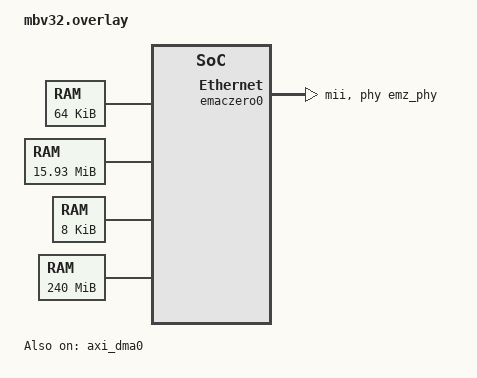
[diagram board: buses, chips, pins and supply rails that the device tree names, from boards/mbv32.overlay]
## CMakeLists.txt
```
# SPDX-License-Identifier: Apache-2.0
# Copyright (c) 2026 Leonardo Capossio - bard0 design

cmake_minimum_required(VERSION 3.20.0)

list(APPEND ZEPHYR_EXTRA_MODULES ${CMAKE_CURRENT_LIST_DIR}/..)

find_package(Zephyr REQUIRED HINTS $ENV{ZEPHYR_BASE})
project(emacz_zephyr_app)

target_sources(app PRIVATE src/main.c src/provision.c)
```

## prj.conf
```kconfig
# SPDX-License-Identifier: Apache-2.0
# Copyright (c) 2026 Leonardo Capossio - bard0 design

CONFIG_MAIN_STACK_SIZE=2048
CONFIG_HEAP_MEM_POOL_SIZE=4096
CONFIG_SPEED_OPTIMIZATIONS=y
CONFIG_CRC=y
CONFIG_UART_CONSOLE=n
CONFIG_NETWORKING=y
CONFIG_NET_L2_ETHERNET=y
CONFIG_DMA=y
CONFIG_EMACZ_APP_RAW_UART=y
# emacZero driver from deps/zephyr (patches/zephyr/0004). RX buffers live in
# the overlay's emz_bufs region: 64 stay posted to S2MM and up to 56 more are
# lent to the stack; past that, frames are copied into the 8 copy buffers.
CONFIG_ETH_EMACZERO=y
CONFIG_ETH_EMACZERO_RX_BUFFER_COUNT=128
CONFIG_ETH_EMACZERO_RX_DMA_POST_COUNT=64
CONFIG_ETH_EMACZERO_RX_ZERO_COPY_MAX=56
CONFIG_ETH_EMACZERO_RX_COPY_BUFFER_COUNT=8
CONFIG_ETH_EMACZERO_TX_BUFFER_COUNT=16
# Under a flood the cooperative RX path (driver RX thread, UDP sink) would
# keep the CPU, starving the control thread and its TX benchmark (priority
# 4). After 20 ms of RX in a row the RX thread drops to priority 4 and back,
# so a ready sender gets its 20 ms time slice: roughly equal turns on any
# CPU. With no sender ready, RX loses nothing.
CONFIG_ETH_EMACZERO_RX_BUDGET_US=20000
CONFIG_ETH_EMACZERO_RX_YIELD_PRIORITY=4
CONFIG_TIMESLICING=y
CONFIG_TIMESLICE_SIZE=20
CONFIG_TIMESLICE_PRIORITY=0
CONFIG_NET_IPV4=y
CONFIG_NET_IPV4_MTU=1500
CONFIG_NET_IPV6=n
CONFIG_NET_TCP=n
CONFIG_NET_UDP_CHECKSUM=n
CONFIG_NET_SOCKETS=y
CONFIG_NET_ZPERF=n
# The perf-stats block mirrors the stack's counters, read through net_mgmt
CONFIG_NET_STATISTICS=y
CONFIG_NET_STATISTICS_ETHERNET=y
CONFIG_NET_STATISTICS_USER_API=y
CONFIG_NET_MGMT=y
CONFIG_NET_PKT_FILTER=n
CONFIG_NET_TC_RX_COUNT=0
CONFIG_NET_TC_TX_COUNT=0
# One per frame the driver can have in the stack: lent plus copied, and spare
CONFIG_NET_PKT_RX_COUNT=96
CONFIG_NET_PKT_TX_COUNT=24
CONFIG_NET_BUF_RX_COUNT=32
CONFIG_NET_BUF_TX_COUNT=64
CONFIG_NET_BUF_DATA_SIZE=1600
CONFIG_DMA_XILINX_AXI_DMA_INTERRUPT_THRESHOLD=32
CONFIG_DMA_XILINX_AXI_DMA_INTERRUPT_TIMEOUT=32
# Fixed descriptor rings. Each must be larger than what the emacZero driver
# keeps queued on it (RX_DMA_POST_COUNT, TX_BUFFER_COUNT), so one descriptor
# always stays free behind the outstanding ones.
CONFIG_DMA_XILINX_AXI_DMA_SG_DESCRIPTOR_NUM_RX=128
CONFIG_DMA_XILINX_AXI_DMA_SG_DESCRIPTOR_NUM_TX=32
CONFIG_NET_CONFIG_SETTINGS=n
CONFIG_LOG=n
CONFIG_NET_LOG=n
CONFIG_TEST_RANDOM_GENERATOR=y

# Per-board timer frequency lives in app/boards/<board>.conf so this file
# stays CPU-neutral across the mbv32 and arty_a7_vex targets.
```

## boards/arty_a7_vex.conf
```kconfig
# SPDX-License-Identifier: Apache-2.0
# Copyright (c) 2026 Leonardo Capossio - bard0 design

# The SoC domain (CPU, AXI fabrics, peripherals, riscv_mtimer) runs at
# 100 MHz from clock_root/clk100. mtimer/aclk is tied to that same net, so
# this is the machine-timer input frequency. MIG's ui_clk stays at
# 81.25 MHz and is crossed inside ddr_axi_ic (smartconnect, NUM_CLKS 2) --
# the CDC is real, it is just not on the timer path.
CONFIG_SYS_CLOCK_HW_CYCLES_PER_SEC=100000000
```

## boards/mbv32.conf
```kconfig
# SPDX-License-Identifier: Apache-2.0
# Copyright (c) 2026 Leonardo Capossio - bard0 design

# The AXI Timer runs on the shell's 100 MHz SoC clock (SOC_CLK_HZ in
# hardware/scripts/build_arty_a7_mbv.py). Firmware-visible cycles_per_sec must
# match it, or every board-derived rate is biased.
CONFIG_SYS_CLOCK_HW_CYCLES_PER_SEC=100000000

# The upstream board leaves serial off; the status prints use the UARTLite.
# With a UART driver on, the mbv32 SoC selects UART_CONSOLE, overriding
# prj.conf: only the boot banner and fault dumps reach it, as the app
# does not printk.
CONFIG_SERIAL=y
CONFIG_UART_CONSOLE=y
```

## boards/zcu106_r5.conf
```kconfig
# SPDX-License-Identifier: Apache-2.0
# Copyright (c) 2026 Leonardo Capossio - bard0 design

# The frame buffers are cacheable (zcu106_r5.overlay) and the DMA does not
# snoop the D-cache: the AXI DMA driver cleans TX buffers before MM2S reads
# them and invalidates RX buffers before and after S2MM writes them.
CONFIG_DMA_XILINX_AXI_DMA_MANUAL_CACHE_COHERENCY=y
```

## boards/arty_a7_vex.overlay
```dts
/*
 * SPDX-License-Identifier: Apache-2.0
 * Copyright (c) 2026 Leonardo Capossio - bard0 design
 *
 * App-side overlay for arty_a7_vex. Mirrors mbv32.overlay's emacZero/DMA
 * layout with two differences:
 *   - IRQ index order matches hardware/scripts/build_arty_a7_vex.py's
 *     xlconcat (uart=0, gpio=1, mm2s=2, s2mm=3, emaczero=4), NOT the mbv
 *     shell's numbering.
 *   - There is only one AXI bus root in the DTS (soc/simple-bus), so we
 *     add nodes directly to the base DTS's root (no &axi label needed).
 *
 * Address map (verified against build_arty_a7_vex.py):
 *   emacZero        @ 0x44A00000
 *   AXI DMA         @ 0x41E00000
 *   axis_rx_stats   @ 0x41F00000
 *   AXI INTC        @ 0x41200000
 *   UARTLite        @ 0x40600000
 *   DDR             @ 0x90000000 (240 MiB Zephyr + 16 MiB uncached DMA window
 *                     at 0x9F000000: 64 KiB SG descriptors, frame buffers,
 *                     and the 8 KiB host page at 0x9FFFE000)
 */

/ {
	/* Uncached (outside the CPU D-cache aperture) home for the AXI DMA
	 * scatter-gather descriptor rings.
	 */
	dma_desc: memory@9f000000 {
		compatible = "zephyr,memory-region";
		reg = <0x9f000000 0x10000>;
		zephyr,memory-region = "DMA_DESC";
	};

	/* emacZero RX and TX packet buffers, in the same uncached window. It
	 * stops where emz_hostio starts.
	 */
	emz_bufs: memory@9f010000 {
		compatible = "zephyr,memory-region";
		reg = <0x9f010000 0xfee000>;
		zephyr,memory-region = "EMZ_BUFFERS";
	};

	/* Host-visible page at fixed addresses the host tools reach over
	 * JTAG-AXI: the provisioning mailbox, then the app's perf stats.
	 */
	emz_hostio: memory@9fffe000 {
		compatible = "zephyr,memory-region";
		reg = <0x9fffe000 0x2000>;
		zephyr,memory-region = "EMZ_HOSTIO";
	};

	/* The MII PHY is not managed by software; the link is fixed at
	 * 100 Mbit/s full duplex. The parent node only supplies the address
	 * cells for the PHY's reg.
	 */
	emz_phy_bus {
		#address-cells = <1>;
		#size-cells = <0>;

		emz_phy: ethernet-phy@0 {
			compatible = "ethernet-phy";
			reg = <0>;
			fixed-link = "100BASE-T Full-Duplex";
		};
	};

	aliases {
		ethernet0 = &emaczero0;
	};

	soc {
		emaczero0: ethernet@44a00000 {
			compatible = "bard0,emaczero";
			status = "okay";
			reg = <0x44a00000 0x100>;
			interrupt-parent = <&intc0>;
			interrupts = <4 2>;
			axistream-connected = <&axi_dma0>;
			local-mac-address = [02 00 00 00 00 01];
			phy-connection-type = "mii";
			phy-handle = <&emz_phy>;
			memory-region = <&emz_bufs>;
		};

		axi_dma0: dma@41e00000 {
			compatible = "xlnx,axi-dma-1.00.a";
			status = "okay";
			reg = <0x41e00000 0x10000>;
			interrupt-parent = <&intc0>;
			interrupts = <2 2 3 2>;
			interrupt-names = "mm2s_introut", "s2mm_introut";
			#dma-cells = <0>;
			dma-channels = <2>;
			xlnx,addrwidth = <32>;
			memory-region = <&dma_desc>;
		};
	};
};
```

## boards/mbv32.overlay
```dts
/*
 * SPDX-License-Identifier: Apache-2.0
 * Copyright (c) 2026 Leonardo Capossio - bard0 design
 */

/ {
	/delete-node/ memory@80000000;

	/* Uncached (outside the CPU D-cache aperture) home for the AXI DMA
	 * scatter-gather descriptor rings.
	 */
	dma_desc: memory@9f000000 {
		compatible = "zephyr,memory-region";
		reg = <0x9f000000 0x10000>;
		zephyr,memory-region = "DMA_DESC";
	};

	/* emacZero RX and TX packet buffers, in the same uncached window. It
	 * stops where emz_hostio starts.
	 */
	emz_bufs: memory@9f010000 {
		compatible = "zephyr,memory-region";
		reg = <0x9f010000 0xfee000>;
		zephyr,memory-region = "EMZ_BUFFERS";
	};

	/* Host-visible page at fixed addresses the host tools reach over
	 * JTAG-AXI: the provisioning mailbox, then the app's perf stats.
	 */
	emz_hostio: memory@9fffe000 {
		compatible = "zephyr,memory-region";
		reg = <0x9fffe000 0x2000>;
		zephyr,memory-region = "EMZ_HOSTIO";
	};

	/* The MII PHY is not managed by software; the link is fixed at
	 * 100 Mbit/s full duplex. The parent node only supplies the address
	 * cells for the PHY's reg.
	 */
	emz_phy_bus {
		#address-cells = <1>;
		#size-cells = <0>;

		emz_phy: ethernet-phy@0 {
			compatible = "ethernet-phy";
			reg = <0>;
			fixed-link = "100BASE-T Full-Duplex";
		};
	};

	ram0: memory@90000000 {
		device_type = "memory";
		reg = <0x90000000 0x0f000000>;
	};

	aliases {
		ethernet0 = &emaczero0;
	};

	/* uart0, the shell's AXI UARTLite at 0x40600000, stays the console */
	chosen {
		/delete-property/ bootargs;
		/delete-property/ stdout-path;
	};
};

&axi_gpio {
	status = "disabled";
};

&axi_intc {
	xlnx,kind-of-intr = <0x0a>;
};

/*
 * The CPU, the AXI fabric and the AXI Timer that backs
 * sys_clock_cycle_get_32 run on the shell's 100 MHz SoC clock (SOC_CLK_HZ in
 * hardware/scripts/build_arty_a7_mbv.py), as in the VexRiscv shell.
 */
&clk100 {
	clock-frequency = <100000000>;
};

&cpu_0 {
	clock-frequency = <100000000>;
};

&cpus {
	timebase-frequency = <100000000>;
};

/*
 * Arty A7-100T MicroBlaze V example integration point.
 *
 * Keep this address map synchronized with the Vivado block design that
 * instantiates MicroBlaze V, AXI INTC, AXI Timer, UARTLite, and emacZero.
 */
&axi {
	emaczero0: ethernet@44a00000 {
		compatible = "bard0,emaczero";
		status = "okay";
		reg = <0x44a00000 0x100>;
		interrupt-parent = <&axi_intc>;
		interrupts = <5 2>;
		axistream-connected = <&axi_dma0>;
		local-mac-address = [02 00 00 00 00 01];
		phy-connection-type = "mii";
		phy-handle = <&emz_phy>;
		memory-region = <&emz_bufs>;
	};

	axi_dma0: dma@41e00000 {
		compatible = "xlnx,axi-dma-1.00.a";
		status = "okay";
		reg = <0x41e00000 0x10000>;
		interrupt-parent = <&axi_intc>;
		interrupts = <6 2 7 2>;
		interrupt-names = "mm2s_introut", "s2mm_introut";
		#dma-cells = <0>;
		dma-channels = <2>;
		xlnx,addrwidth = <32>;
		memory-region = <&dma_desc>;
	};
};
```

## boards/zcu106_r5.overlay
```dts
/*
 * SPDX-License-Identifier: Apache-2.0
 * Copyright (c) 2026 Leonardo Capossio - bard0 design
 *
 * App-side overlay for zcu106_r5: the Vex shells' emacZero/DMA layout,
 * reached by Cortex-R5 #0 over M_AXI_HPM0_LPD, with the DMA memory in PS
 * DDR and the link fixed at 1 Gbit/s (1000BASE-X on SFP0).
 *
 * Address map (verified against hardware/scripts/build_zcu106.py):
 *   PCS/PMA status  @ 0x80010000 (AXI GPIO, read by the host tools)
 *   AXI DMA         @ 0x81E00000
 *   axis_rx_stats   @ 0x81F00000
 *   emacZero        @ 0x84A00000
 *   PL interrupts   pl_ps_irq0[3:0] = GIC SPI 89..92: pcs_gpio, mm2s,
 *                   s2mm, emaczero
 *   DDR (MPU regions, reached by the DMA through S_AXI_HP0_FPD): frame
 *   buffers at 0x07C00000, SG descriptors at 0x07E00000, the 8 KiB host
 *   page at 0x07FFE000. All of it is above the 64 MiB Zephyr RAM and clear
 *   of the TCM window at 0x0.
 *
 * Each MPU region must be a power of two in size, aligned to its size.
 * HP0_FPD does not snoop the R5's D-cache. The frame buffers are cacheable,
 * so the socket copy out of them reads whole lines, and the AXI DMA driver
 * cleans and invalidates them around each transfer (zcu106_r5.conf). The
 * descriptors and the host page, which the host reads over JTAG-AXI, stay
 * non-cacheable.
 */

#include <zephyr/dt-bindings/interrupt-controller/arm-gic.h>
#include <zephyr/dt-bindings/memory-attr/memory-attr-arm.h>

/ {
	emz_bufs: memory@7c00000 {
		compatible = "zephyr,memory-region";
		reg = <0x07c00000 DT_SIZE_M(2)>;
		zephyr,memory-region = "EMZ_BUFFERS";
		zephyr,memory-attr = <DT_MEM_ARM(ATTR_MPU_RAM)>;
	};

	dma_desc: memory@7e00000 {
		compatible = "zephyr,memory-region";
		reg = <0x07e00000 DT_SIZE_K(64)>;
		zephyr,memory-region = "DMA_DESC";
		zephyr,memory-attr = <DT_MEM_ARM(ATTR_MPU_RAM_NOCACHE)>;
	};

	/* Host-visible page at fixed addresses the host tools reach over
	 * JTAG-AXI: the provisioning mailbox, then the app's perf stats.
	 */
	emz_hostio: memory@7ffe000 {
		compatible = "zephyr,memory-region";
		reg = <0x07ffe000 DT_SIZE_K(8)>;
		zephyr,memory-region = "EMZ_HOSTIO";
		zephyr,memory-attr = <DT_MEM_ARM(ATTR_MPU_RAM_NOCACHE)>;
	};

	/* 1000BASE-X has no PHY to manage, and Zephyr has no PCS driver for
	 * the AMD core: the link is fixed at 1 Gbit/s full duplex. The PCS
	 * status (link, sync) is in the status GPIO. The parent node only
	 * supplies the address cells for the PHY's reg.
	 */
	emz_phy_bus {
		#address-cells = <1>;
		#size-cells = <0>;

		emz_phy: ethernet-phy@0 {
			compatible = "ethernet-phy";
			reg = <0>;
			fixed-link = "1000BASE-T Full-Duplex";
		};
	};

	aliases {
		ethernet0 = &emaczero0;
	};

	soc {
		emaczero0: ethernet@84a00000 {
			compatible = "bard0,emaczero";
			status = "okay";
			reg = <0x84a00000 0x100>;
			interrupts = <GIC_SPI 92 IRQ_TYPE_LEVEL IRQ_DEFAULT_PRIORITY>;
			axistream-connected = <&axi_dma0>;
			/* the Arty boards use :01; a ZCU106 may share their segment */
			local-mac-address = [02 00 00 00 00 03];
			phy-connection-type = "gmii";
			phy-handle = <&emz_phy>;
			memory-region = <&emz_bufs>;
		};

		axi_dma0: dma@81e00000 {
			compatible = "xlnx,axi-dma-1.00.a";
			status = "okay";
			reg = <0x81e00000 0x10000>;
			interrupts = <GIC_SPI 90 IRQ_TYPE_LEVEL IRQ_DEFAULT_PRIORITY>,
				     <GIC_SPI 91 IRQ_TYPE_LEVEL IRQ_DEFAULT_PRIORITY>;
			interrupt-names = "mm2s_introut", "s2mm_introut";
			#dma-cells = <0>;
			dma-channels = <2>;
			xlnx,addrwidth = <32>;
			memory-region = <&dma_desc>;
		};
	};
};
```

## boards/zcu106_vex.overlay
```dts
/*
 * SPDX-License-Identifier: Apache-2.0
 * Copyright (c) 2026 Leonardo Capossio - bard0 design
 *
 * App-side overlay for zcu106_vex: the arty_a7_vex overlay's emacZero/DMA
 * layout and memory map, with the link fixed at 1 Gbit/s (1000BASE-X on
 * SFP0).
 *
 * Address map (verified against hardware/scripts/build_zcu106.py):
 *   emacZero        @ 0x44A00000
 *   AXI DMA         @ 0x41E00000
 *   axis_rx_stats   @ 0x41F00000
 *   AXI INTC        @ 0x41200000
 *   UARTLite        @ 0x40600000
 *   PCS/PMA status  @ 0x40010000 (AXI GPIO, read by the host tools)
 *   PS DDR4         @ 0x90000000 (240 MiB Zephyr + 16 MiB uncached DMA window
 *                     at 0x9F000000: 64 KiB SG descriptors, frame buffers,
 *                     and the 8 KiB host page at 0x9FFFE000)
 */

/ {
	/* Uncached (outside the CPU D-cache aperture) home for the AXI DMA
	 * scatter-gather descriptor rings.
	 */
	dma_desc: memory@9f000000 {
		compatible = "zephyr,memory-region";
		reg = <0x9f000000 0x10000>;
		zephyr,memory-region = "DMA_DESC";
	};

	/* emacZero RX and TX packet buffers, in the same uncached window. It
	 * stops where emz_hostio starts.
	 */
	emz_bufs: memory@9f010000 {
		compatible = "zephyr,memory-region";
		reg = <0x9f010000 0xfee000>;
		zephyr,memory-region = "EMZ_BUFFERS";
	};

	/* Host-visible page at fixed addresses the host tools reach over
	 * JTAG-AXI: the provisioning mailbox, then the app's perf stats.
	 */
	emz_hostio: memory@9fffe000 {
		compatible = "zephyr,memory-region";
		reg = <0x9fffe000 0x2000>;
		zephyr,memory-region = "EMZ_HOSTIO";
	};

	/* 1000BASE-X has no PHY to manage, and Zephyr has no PCS driver for
	 * the AMD core: the link is fixed at 1 Gbit/s full duplex. The PCS
	 * status (link, sync) is in the status GPIO. The parent node only
	 * supplies the address cells for the PHY's reg.
	 */
	emz_phy_bus {
		#address-cells = <1>;
		#size-cells = <0>;

		emz_phy: ethernet-phy@0 {
			compatible = "ethernet-phy";
			reg = <0>;
			fixed-link = "1000BASE-T Full-Duplex";
		};
	};

	aliases {
		ethernet0 = &emaczero0;
	};

	soc {
		emaczero0: ethernet@44a00000 {
			compatible = "bard0,emaczero";
			status = "okay";
			reg = <0x44a00000 0x100>;
			interrupt-parent = <&intc0>;
			interrupts = <4 2>;
			axistream-connected = <&axi_dma0>;
			/* the Arty boards use :01; a ZCU106 may share their segment */
			local-mac-address = [02 00 00 00 00 02];
			phy-connection-type = "gmii";
			phy-handle = <&emz_phy>;
			memory-region = <&emz_bufs>;
		};

		axi_dma0: dma@41e00000 {
			compatible = "xlnx,axi-dma-1.00.a";
			status = "okay";
			reg = <0x41e00000 0x10000>;
			interrupt-parent = <&intc0>;
			interrupts = <2 2 3 2>;
			interrupt-names = "mm2s_introut", "s2mm_introut";
			#dma-cells = <0>;
			dma-channels = <2>;
			xlnx,addrwidth = <32>;
			memory-region = <&dma_desc>;
		};
	};
};
```

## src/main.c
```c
/*
 * SPDX-License-Identifier: Apache-2.0
 * Copyright (c) 2026 Leonardo Capossio - bard0 design
 */

#include <errno.h>
#include <stdlib.h>
#include <string.h>

#include <zephyr/devicetree.h>
#include <zephyr/drivers/uart.h>
#include <zephyr/kernel.h>
#include <zephyr/net/net_if.h>
#include <zephyr/net/net_ip.h>
#include <zephyr/net/net_mgmt.h>
#include <zephyr/net/net_stats.h>
#include <zephyr/net/socket.h>
#if defined(CONFIG_NET_ZPERF)
#include <zephyr/net/zperf.h>
#endif
#include <zephyr/sys/printk.h>
#include <zephyr/sys/sys_io.h>

#include "perf_stats.h"
#include "provision.h"

/* Status lines go to the console UART by polling, whatever its driver */
#define STATUS_UART DEVICE_DT_GET(DT_CHOSEN(zephyr_console))

#define SCRATCH_MAGIC 0x5a455048u

/* The MAC's statistics registers, read directly; the driver owns the rest */
#define EMACZERO_BASE DT_REG_ADDR(DT_NODELABEL(emaczero0))
#define EMZ_REG_VERSION 0x00u
#define EMZ_REG_CTRL 0x04u
#define EMZ_REG_STATUS 0x08u
#define EMZ_REG_MAC_LO 0x0cu
#define EMZ_REG_MAC_HI 0x10u
#define EMZ_REG_TX_FRAME_CNT 0x28u
#define EMZ_REG_TX_BYTE_CNT 0x2cu
#define EMZ_REG_RX_FRAME_CNT 0x30u
#define EMZ_REG_RX_BYTE_CNT 0x34u
#define EMZ_REG_RX_ERR_CNT 0x38u
#define EMZ_REG_RX_ERR_ALIGN 0x4cu
#define EMZ_REG_RX_ERR_OVERFLOW 0x50u
#define EMZ_REG_RX_ERR_OVERSIZE 0x54u
#define EMZ_REG_RX_BCAST 0x58u
#define EMZ_REG_RX_MCAST 0x5cu
#define EMZ_REG_RX_SIZE_1024_1518 0x74u
#define EMZ_REG_RX_DROP 0x7cu
#define EMZ_REG_GATE_MAGIC 0x100u
#define EMZ_REG_GATE_GOOD_FRAMES 0x104u
#define EMZ_REG_GATE_DROPPED_BAD_FRAMES 0x108u
#define EMZ_REG_GATE_DROPPED_OVERFLOW_FRAMES 0x10cu
#define EMZ_REG_GATE_DRAIN_SAMPLES 0x110u
#define EMZ_REG_GATE_DRAIN_CYCLES_TOTAL 0x114u
#define EMZ_REG_GATE_DRAIN_CYCLES_MAX 0x118u
#define EMZ_REG_GATE_DRAIN_LT_50US 0x11cu
#define EMZ_REG_GATE_DRAIN_50_100US 0x120u
#define EMZ_REG_GATE_DRAIN_100_200US 0x124u
#define EMZ_REG_GATE_DRAIN_200_500US 0x128u
#define EMZ_REG_GATE_DRAIN_GE_500US 0x12cu
#define EMZ_REG_GATE_DRAIN_TREADY_LOW_CYCLES 0x130u
#define EMZ_REG_GATE_DRAIN_TREADY_LOW_CYCLES_MAX 0x134u
#define EMZ_REG_GATE_DRAIN_TREADY_LOW_SAMPLES 0x138u

#define ZPERF_PORT 5001u
#define UDP_SINK_PORT 5001u
#define UDP_SINK_BUFFER_SIZE 1536u
#define UDP_SINK_THREAD_STACK_SIZE 2048u
#define UDP_SINK_THREAD_PRIORITY CONFIG_EMACZ_APP_SINK_THREAD_PRIORITY
#define CONTROL_PORT 5002u
#define CONTROL_THREAD_STACK_SIZE 2048u
#define CONTROL_THREAD_PRIORITY 4
#define TX_BENCH_PORT 5003u
#define TX_BENCH_MAX_PAYLOAD 1472u
#define TX_BENCH_DEFAULT_DURATION_MS 5000u
/* Keeps the 32-bit cycle window below its wrap at 100 MHz (~42.9 s). */
#define TX_BENCH_MAX_DURATION_MS 30000u
/* Slowest pacing: one packet per second. */
#define TX_BENCH_MAX_DELAY_US 1000000u
#define TX_BENCH_DEFAULT_PAYLOAD 1472u

volatile uint32_t emacz_scratch_heartbeat[2];
volatile uint32_t emacz_boot_marker;

static uint32_t emz_read(uint32_t reg)
{
	return sys_read32(EMACZERO_BASE + reg);
}

static void raw_uart_puts(const char *str)
{
#if defined(CONFIG_EMACZ_APP_RAW_UART)
	if (!device_is_ready(STATUS_UART)) {
		return;
	}
	for (; *str != '\0'; str++) {
		uart_poll_out(STATUS_UART, *str);
	}
#else
	ARG_UNUSED(str);
#endif
}

static void raw_uart_hex32(uint32_t value)
{
	char text[9];

	for (int i = 0; i < 8; i++) {
		uint8_t nibble = (value >> (28 - 4 * i)) & 0xfu;

		text[i] = nibble < 10u ? '0' + nibble : 'A' + nibble - 10u;
	}
	text[8] = '\0';
	raw_uart_puts(text);
}

#if defined(CONFIG_NET_ZPERF)
static void raw_uart_hex64(uint64_t value)
{
	raw_uart_hex32((uint32_t)(value >> 32));
	raw_uart_hex32((uint32_t)value);
}
#endif

static void raw_uart_reg(const char *name, uint32_t reg)
{
	raw_uart_puts(name);
	raw_uart_puts("=0x");
	raw_uart_hex32(emz_read(reg));
	raw_uart_puts("\r\n");
}

static void update_perf_stats(void);

static void read_net_stats(struct net_stats *stats, struct net_stats_eth *eth)
{
	memset(stats, 0, sizeof(*stats));
	memset(eth, 0, sizeof(*eth));
	(void)net_mgmt(NET_REQUEST_STATS_GET_ALL, NULL, stats, sizeof(*stats));
	(void)net_mgmt(NET_REQUEST_STATS_GET_ETHERNET, net_if_get_default(), eth, sizeof(*eth));
}

#if defined(CONFIG_NET_ZPERF)
static void zperf_status_cb(enum zperf_status status, struct zperf_results *result,
			    void *user_data)
{
	ARG_UNUSED(user_data);

	if (status == ZPERF_SESSION_STARTED) {
		raw_uart_puts("ZPERF started\r\n");
		return;
	}

	if (status == ZPERF_SESSION_ERROR) {
		raw_uart_puts("ZPERF error\r\n");
		return;
	}

	if (status != ZPERF_SESSION_FINISHED || result == NULL) {
		return;
	}

	raw_uart_puts("ZPERF done rx_pkts=0x");
	raw_uart_hex32(result->nb_packets_rcvd);
	raw_uart_puts(" lost=0x");
	raw_uart_hex32(result->nb_packets_lost);
	raw_uart_puts(" bytes=0x");
	raw_uart_hex64(result->total_len);
	raw_uart_puts(" usec=0x");
	raw_uart_hex64(result->time_in_us);
	raw_uart_puts("\r\n");
}

static void start_zperf_server(void)
{
	struct zperf_download_params params = {
		.port = ZPERF_PORT,
	};
	struct sockaddr_in *addr = (struct sockaddr_in *)&params.addr;
	int ret;

	addr->sin_family = AF_INET;
	addr->sin_port = htons(ZPERF_PORT);
	ret = zperf_udp_download(&params, zperf_status_cb, NULL);

	raw_uart_puts("MBV zperf udp port 5001 ret=0x");
	raw_uart_hex32((uint32_t)ret);
	raw_uart_puts("\r\n");
}
#else
K_THREAD_STACK_DEFINE(udp_sink_thread_stack, UDP_SINK_THREAD_STACK_SIZE);
static struct k_thread udp_sink_thread;
/* CONFIG_EMACZ_APP_PAYLOAD_BUF_OFFSET: where the buffer starts within a word */
static uint8_t udp_sink_raw[UDP_SINK_BUFFER_SIZE + CONFIG_EMACZ_APP_PAYLOAD_BUF_OFFSET]
	__aligned(4);
static uint8_t *const udp_sink_buf = &udp_sink_raw[CONFIG_EMACZ_APP_PAYLOAD_BUF_OFFSET];

/*
 * The sink thread is the only writer of the sink_* block. It brackets every
 * update with sink_seq so that readers (the control thread, the JTAG host)
 * can tell a copy that straddled one. A preemptible sink must not be switched
 * out mid-update: read_sink() spins while sink_seq is odd, and a reader that
 * outranks the sink, or shares its priority without time slicing, would spin
 * for good.
 */
static inline void sink_stats_begin(void)
{
	k_sched_lock();
	emacz_perf.sink_seq++;
	compiler_barrier();
}

static inline void sink_stats_end(void)
{
	compiler_barrier();
	emacz_perf.sink_seq++;
	k_sched_unlock();
}

static void sink_account_packet(uint32_t payload_len)
{
	uint32_t now = k_cycle_get_32();

	sink_stats_begin();
	if (emacz_perf.sink_packets == 0u) {
		emacz_perf.sink_first_cycle = now;
	}
	emacz_perf.sink_packets++;
	emacz_perf.sink_bytes += (uint64_t)payload_len;
	emacz_perf.sink_last_len = payload_len;
	emacz_perf.sink_last_cycle = now;
	sink_stats_end();
}

static void sink_account_error(uint32_t err)
{
	sink_stats_begin();
	emacz_perf.sink_recv_errors++;
	emacz_perf.sink_last_errno = err;
	if (err == EAGAIN || err == EWOULDBLOCK) {
		emacz_perf.sink_eagain++;
	}
	sink_stats_end();
}

static void udp_sink_thread_fn(void *arg1, void *arg2, void *arg3)
{
	struct sockaddr_in addr = {
		.sin_family = AF_INET,
		.sin_port = htons(UDP_SINK_PORT),
		.sin_addr.s_addr = htonl(INADDR_ANY),
	};
	int sock;

	ARG_UNUSED(arg1);
	ARG_UNUSED(arg2);
	ARG_UNUSED(arg3);

	sock = zsock_socket(AF_INET, SOCK_DGRAM, IPPROTO_UDP);
	if (sock < 0) {
		sink_account_error((uint32_t)errno);
		return;
	}

	if (zsock_bind(sock, (struct sockaddr *)&addr, sizeof(addr)) < 0) {
		sink_account_error((uint32_t)errno);
		(void)zsock_close(sock);
		return;
	}

	while (true) {
		uint32_t recv_start = k_cycle_get_32();
		ssize_t got = zsock_recvfrom(sock, udp_sink_buf, UDP_SINK_BUFFER_SIZE, 0,
					     NULL, NULL);
		uint32_t recv_cycles = k_cycle_get_32() - recv_start;

		sink_stats_begin();
		emacz_perf.sink_recvfrom_calls++;
		emacz_perf.sink_recvfrom_cycles_total += recv_cycles;
		if (recv_cycles > emacz_perf.sink_recvfrom_cycles_max) {
			emacz_perf.sink_recvfrom_cycles_max = recv_cycles;
		}
		sink_stats_end();

		if (got < 0) {
			sink_account_error((uint32_t)errno);
			continue;
		}
		sink_account_packet((uint32_t)got);
	}
}

static void start_udp_sink(void)
{
	k_thread_create(&udp_sink_thread, udp_sink_thread_stack,
			K_THREAD_STACK_SIZEOF(udp_sink_thread_stack), udp_sink_thread_fn,
			NULL, NULL, NULL, UDP_SINK_THREAD_PRIORITY, 0, K_NO_WAIT);
	k_thread_name_set(&udp_sink_thread, "udp_sink");
	raw_uart_puts("MBV udp sink port 5001\r\n");
}
#endif

/* Consistent copy of the sink counters the control replies use */
struct sink_snapshot {
	uint64_t packets;
	uint64_t bytes;
	uint64_t errors;
};

static void read_sink(struct sink_snapshot *out)
{
	uint32_t seq;

	do {
		seq = emacz_perf.sink_seq;
		compiler_barrier();
		out->packets = emacz_perf.sink_packets;
		out->bytes = emacz_perf.sink_bytes;
		out->errors = emacz_perf.sink_recv_errors;
		compiler_barrier();
	} while ((seq & 1u) != 0u || seq != emacz_perf.sink_seq);
}

static size_t format_status(char *buf, size_t len)
{
	struct sink_snapshot sink;

	read_sink(&sink);
	return (size_t)snprintk(buf, len,
				"hz=%u uptime=%u mac_rx=%u mac_rx_bytes=%u mac_tx=%u "
				"mac_tx_bytes=%u sink_p=%llu\r\n",
				sys_clock_hw_cycles_per_sec(), (uint32_t)k_uptime_get(),
				emz_read(EMZ_REG_RX_FRAME_CNT), emz_read(EMZ_REG_RX_BYTE_CNT),
				emz_read(EMZ_REG_TX_FRAME_CNT), emz_read(EMZ_REG_TX_BYTE_CNT),
				sink.packets);
}

/*
 * Acceptance snapshot for scripts/run_arty_stress.py. sink_err through
 * dma_err are error counters that must not move during a clean run;
 * ip_drop and udp_drop also count the host's unrelated broadcast traffic.
 */
static size_t format_acceptance(char *buf, size_t len)
{
	struct sink_snapshot sink;
	struct net_stats stats;
	struct net_stats_eth eth;

	read_net_stats(&stats, &eth);
	read_sink(&sink);
	return (size_t)snprintk(
		buf, len,
		"magic=EZRX uptime=%u mac_rx=%u sink_p=%llu sink_b=%llu sink_err=%llu "
		"mac_err=%u gate_bad=%u gate_ovf=%u tready=%u eth_err=%u dma_err=%u "
		"ip_drop=%u udp_drop=%u\r\n",
		(uint32_t)k_uptime_get(), emz_read(EMZ_REG_RX_FRAME_CNT), sink.packets,
		sink.bytes, sink.errors, emz_read(EMZ_REG_RX_ERR_CNT),
		emz_read(EMZ_REG_GATE_DROPPED_BAD_FRAMES),
		emz_read(EMZ_REG_GATE_DROPPED_OVERFLOW_FRAMES),
		emz_read(EMZ_REG_GATE_DRAIN_TREADY_LOW_CYCLES), (uint32_t)eth.errors.rx,
		(uint32_t)(eth.error_details.rx_dma_failed + eth.error_details.tx_dma_failed),
		(uint32_t)stats.ipv4.drop, (uint32_t)stats.udp.drop);
}

static const char *parse_u32_arg(const char *cursor, uint32_t *value)
{
	char *end;
	unsigned long parsed;

	while (*cursor == ' ' || *cursor == '\t') {
		cursor++;
	}

	if (*cursor < '0' || *cursor > '9') {
		return NULL;
	}

	parsed = strtoul(cursor, &end, 0);
	if (end == cursor || parsed > UINT32_MAX) {
		return NULL;
	}

	*value = (uint32_t)parsed;
	return end;
}

static uint8_t tx_bench_raw[TX_BENCH_MAX_PAYLOAD + CONFIG_EMACZ_APP_PAYLOAD_BUF_OFFSET]
	__aligned(4);
static uint8_t *const tx_bench_payload = &tx_bench_raw[CONFIG_EMACZ_APP_PAYLOAD_BUF_OFFSET];

/*
 * "t [duration_ms [payload [rate_mbps_x1000 [port]]]]": send UDP datagrams
 * from the control socket to the requester for duration_ms, through the
 * network stack and the driver like any application traffic.
 */
static size_t run_tx_bench(int sock, const struct sockaddr_in *peer, const char *args,
			   char *reply, size_t reply_len)
{
	struct sockaddr_in dst = *peer;
	uint32_t duration_ms = TX_BENCH_DEFAULT_DURATION_MS;
	uint32_t payload_len = TX_BENCH_DEFAULT_PAYLOAD;
	uint32_t rate_mbps_x1000 = 0u;
	uint32_t port = TX_BENCH_PORT;
	uint32_t cycles_per_sec = sys_clock_hw_cycles_per_sec();
	uint32_t delay_us = 0u;
	uint32_t last_cycle;
	uint64_t duration_cycles;
	uint64_t elapsed_cycles = 0u;
	uint64_t packets = 0u;
	uint64_t bytes = 0u;
	uint64_t errors = 0u;
	int last_ret = 0;
	int last_errno = 0;
	const char *next = parse_u32_arg(args, &duration_ms);

	if (next != NULL) {
		next = parse_u32_arg(next, &payload_len);
	}
	if (next != NULL) {
		next = parse_u32_arg(next, &rate_mbps_x1000);
	}
	if (next != NULL) {
		(void)parse_u32_arg(next, &port);
	}

	if (duration_ms == 0u) {
		duration_ms = TX_BENCH_DEFAULT_DURATION_MS;
	} else if (duration_ms > TX_BENCH_MAX_DURATION_MS) {
		duration_ms = TX_BENCH_MAX_DURATION_MS;
	}
	if (payload_len == 0u || payload_len > TX_BENCH_MAX_PAYLOAD) {
		payload_len = TX_BENCH_DEFAULT_PAYLOAD;
	}
	if (port == 0u || port > UINT16_MAX) {
		port = TX_BENCH_PORT;
	}
	if (rate_mbps_x1000 != 0u) {
		uint64_t bits_per_packet = (uint64_t)payload_len * 8u;
		uint64_t bits_per_sec = (uint64_t)rate_mbps_x1000 * 1000u;
		uint64_t delay = (bits_per_packet * 1000000u) / bits_per_sec;

		delay_us = (uint32_t)CLAMP(delay, 1u, (uint64_t)TX_BENCH_MAX_DELAY_US);
	}

	dst.sin_port = htons((uint16_t)port);
	/*
	 * The 32-bit cycle counter wraps within the 30 s limit above 143 MHz,
	 * so each pass adds its (short) delta to a 64-bit total.
	 */
	duration_cycles = ((uint64_t)duration_ms * cycles_per_sec) / 1000u;
	last_cycle = k_cycle_get_32();
	while (elapsed_cycles < duration_cycles) {
		ssize_t ret = zsock_sendto(sock, tx_bench_payload, payload_len, 0,
					   (struct sockaddr *)&dst, sizeof(dst));

		last_ret = (int)ret;
		if (ret < 0) {
			errors++;
			last_errno = errno;
			/* out of packets: let the stack and driver drain */
			k_yield();
		} else {
			packets++;
			bytes += (uint64_t)ret;
			if (delay_us != 0u) {
				k_busy_wait(delay_us);
			}
		}

		uint32_t now = k_cycle_get_32();

		elapsed_cycles += (uint32_t)(now - last_cycle);
		last_cycle = now;
	}

	return (size_t)snprintk(reply, reply_len,
				"tx pkts=%llu bytes=%llu errors=%llu elapsed_ms=%u "
				"payload=%u rate_mbps_x1000=%u port=%u last_ret=%d "
				"errno=%d\r\n",
				packets, bytes, errors,
				(uint32_t)((elapsed_cycles * 1000u) / cycles_per_sec),
				payload_len, rate_mbps_x1000, port, last_ret, last_errno);
}

K_THREAD_STACK_DEFINE(control_thread_stack, CONTROL_THREAD_STACK_SIZE);
static struct k_thread control_thread;

/*
 * UDP control port: 's' status line, 'a' acceptance snapshot, 't' TX
 * benchmark. Anything else gets "?" back, which still proves the board
 * answers.
 */
static void control_thread_fn(void *arg1, void *arg2, void *arg3)
{
	struct sockaddr_in addr = {
		.sin_family = AF_INET,
		.sin_port = htons(CONTROL_PORT),
		.sin_addr.s_addr = htonl(INADDR_ANY),
	};
	int sock;

	ARG_UNUSED(arg1);
	ARG_UNUSED(arg2);
	ARG_UNUSED(arg3);

	sock = zsock_socket(AF_INET, SOCK_DGRAM, IPPROTO_UDP);
	if (sock < 0) {
		raw_uart_puts("CONTROL socket failed\r\n");
		return;
	}

	if (zsock_bind(sock, (struct sockaddr *)&addr, sizeof(addr)) < 0) {
		raw_uart_puts("CONTROL bind failed\r\n");
		(void)zsock_close(sock);
		return;
	}

	raw_uart_puts("CONTROL udp port 5002\r\n");
	while (true) {
		char request[96];
		char reply[256];
		size_t len;
		struct sockaddr_in peer;
		socklen_t peer_len = sizeof(peer);
		ssize_t got = zsock_recvfrom(sock, request, sizeof(request) - 1u, 0,
					     (struct sockaddr *)&peer, &peer_len);

		if (got <= 0 || peer.sin_family != AF_INET) {
			continue;
		}

		request[got] = '\0';
		switch (request[0]) {
		case 's':
		case 'S':
			len = format_status(reply, sizeof(reply));
			break;
		case 'a':
		case 'A':
			len = format_acceptance(reply, sizeof(reply));
			break;
		case 't':
		case 'T':
			len = run_tx_bench(sock, &peer, &request[1], reply, sizeof(reply));
			break;
		default:
			len = (size_t)snprintk(reply, sizeof(reply), "?");
			break;
		}
		(void)zsock_sendto(sock, reply, len, 0, (struct sockaddr *)&peer, peer_len);
	}
}

static void start_control(void)
{
	k_thread_create(&control_thread, control_thread_stack,
			K_THREAD_STACK_SIZEOF(control_thread_stack), control_thread_fn, NULL,
			NULL, NULL, CONTROL_THREAD_PRIORITY, 0, K_NO_WAIT);
	k_thread_name_set(&control_thread, "emacz_control");
}

static void init_perf_stats(void)
{
	memset((void *)&emacz_perf, 0, sizeof(emacz_perf));
	for (uint32_t i = 0u; i < TX_BENCH_MAX_PAYLOAD; i++) {
		tx_bench_payload[i] = (uint8_t)(i ^ 0xa5u);
	}
	emacz_perf.magic = EMACZ_PERF_STATS_MAGIC;
	emacz_perf.version = EMACZ_PERF_STATS_VERSION;
	emacz_perf.cycles_per_sec = sys_clock_hw_cycles_per_sec();
	emacz_perf.rx_buffer_count = CONFIG_ETH_EMACZERO_RX_BUFFER_COUNT;
}

static void update_perf_stats(void)
{
	struct net_stats stats;
	struct net_stats_eth eth;

	emacz_perf.mac_rx_frames = emz_read(EMZ_REG_RX_FRAME_CNT);
	emacz_perf.mac_rx_bytes = emz_read(EMZ_REG_RX_BYTE_CNT);
	emacz_perf.mac_rx_err = emz_read(EMZ_REG_RX_ERR_CNT);
	emacz_perf.mac_rx_err_align = emz_read(EMZ_REG_RX_ERR_ALIGN);
	emacz_perf.mac_rx_err_overflow = emz_read(EMZ_REG_RX_ERR_OVERFLOW);
	emacz_perf.mac_rx_err_oversize = emz_read(EMZ_REG_RX_ERR_OVERSIZE);
	emacz_perf.mac_rx_drop = emz_read(EMZ_REG_RX_DROP);
	emacz_perf.mac_rx_bcast = emz_read(EMZ_REG_RX_BCAST);
	emacz_perf.mac_rx_mcast = emz_read(EMZ_REG_RX_MCAST);
	emacz_perf.mac_rx_size_1024_1518 = emz_read(EMZ_REG_RX_SIZE_1024_1518);
	emacz_perf.mac_tx_frames = emz_read(EMZ_REG_TX_FRAME_CNT);
	emacz_perf.mac_tx_bytes = emz_read(EMZ_REG_TX_BYTE_CNT);
	emacz_perf.gate_magic = emz_read(EMZ_REG_GATE_MAGIC);
	emacz_perf.gate_good_frames = emz_read(EMZ_REG_GATE_GOOD_FRAMES);
	emacz_perf.gate_dropped_bad_frames = emz_read(EMZ_REG_GATE_DROPPED_BAD_FRAMES);
	emacz_perf.gate_dropped_overflow_frames = emz_read(EMZ_REG_GATE_DROPPED_OVERFLOW_FRAMES);
	emacz_perf.gate_drain_samples = emz_read(EMZ_REG_GATE_DRAIN_SAMPLES);
	emacz_perf.gate_drain_cycles_total = emz_read(EMZ_REG_GATE_DRAIN_CYCLES_TOTAL);
	emacz_perf.gate_drain_cycles_max = emz_read(EMZ_REG_GATE_DRAIN_CYCLES_MAX);
	emacz_perf.gate_drain_lt_50us = emz_read(EMZ_REG_GATE_DRAIN_LT_50US);
	emacz_perf.gate_drain_50_100us = emz_read(EMZ_REG_GATE_DRAIN_50_100US);
	emacz_perf.gate_drain_100_200us = emz_read(EMZ_REG_GATE_DRAIN_100_200US);
	emacz_perf.gate_drain_200_500us = emz_read(EMZ_REG_GATE_DRAIN_200_500US);
	emacz_perf.gate_drain_ge_500us = emz_read(EMZ_REG_GATE_DRAIN_GE_500US);
	emacz_perf.gate_drain_tready_low_cycles = emz_read(EMZ_REG_GATE_DRAIN_TREADY_LOW_CYCLES);
	emacz_perf.gate_drain_tready_low_cycles_max =
		emz_read(EMZ_REG_GATE_DRAIN_TREADY_LOW_CYCLES_MAX);
	emacz_perf.gate_drain_tready_low_samples = emz_read(EMZ_REG_GATE_DRAIN_TREADY_LOW_SAMPLES);

	read_net_stats(&stats, &eth);
	emacz_perf.eth_rx_errors = eth.errors.rx;
	emacz_perf.eth_rx_dma_failed = eth.error_details.rx_dma_failed;
	emacz_perf.eth_tx_dma_failed = eth.error_details.tx_dma_failed;
	emacz_perf.net_ipv4_recv = stats.ipv4.recv;
	emacz_perf.net_ipv4_drop = stats.ipv4.drop;
	emacz_perf.net_udp_recv = stats.udp.recv;
	emacz_perf.net_udp_drop = stats.udp.drop;
	emacz_perf.net_udp_chkerr = stats.udp.chkerr;
	emacz_perf.net_processing_error = stats.processing_error;
	emacz_perf.net_ip_vhlerr = stats.ip_errors.vhlerr;
	emacz_perf.net_ip_hblenerr = stats.ip_errors.hblenerr;
	emacz_perf.net_ip_lblenerr = stats.ip_errors.lblenerr;
	emacz_perf.net_ip_fragerr = stats.ip_errors.fragerr;
	emacz_perf.net_ip_chkerr = stats.ip_errors.chkerr;
	emacz_perf.net_ip_protoerr = stats.ip_errors.protoerr;
	emacz_perf.net_icmp_recv = stats.icmp.recv;
	emacz_perf.net_icmp_sent = stats.icmp.sent;
	emacz_perf.net_icmp_drop = stats.icmp.drop;
	emacz_perf.net_icmp_typeerr = stats.icmp.typeerr;
}

#if defined(CONFIG_EMACZ_APP_THREAD_USAGE)
#define USAGE_THREAD_STACK_SIZE 1024u
/* above every other thread, so the samples keep coming under a flood */
#define USAGE_THREAD_PRIORITY K_HIGHEST_THREAD_PRIO
#define USAGE_PERIOD K_MSEC(50)

K_THREAD_STACK_DEFINE(usage_thread_stack, USAGE_THREAD_STACK_SIZE);
static struct k_thread usage_thread;

struct usage_lookup {
	const char *name;
	k_tid_t tid;
};

static void usage_lookup_cb(const struct k_thread *thread, void *user_data)
{
	struct usage_lookup *lookup = user_data;
	k_tid_t tid = (k_tid_t)thread;

	if (strcmp(k_thread_name_get(tid), lookup->name) == 0) {
		lookup->tid = tid;
	}
}

static k_tid_t usage_find(const char *name)
{
	struct usage_lookup lookup = {.name = name};

	k_thread_foreach(usage_lookup_cb, &lookup);
	return lookup.tid;
}

static uint32_t usage_cycles(k_tid_t tid)
{
	k_thread_runtime_stats_t stats;

	if (tid == NULL || k_thread_runtime_stats_get(tid, &stats) != 0) {
		return 0u;
	}
	return (uint32_t)stats.execution_cycles;
}

static void usage_thread_fn(void *arg1, void *arg2, void *arg3)
{
	k_tid_t rx = usage_find("emaczero_rx");
	k_tid_t sink = usage_find("udp_sink");
	k_tid_t control = usage_find("emacz_control");
	k_tid_t main_tid = usage_find("main");
	k_tid_t workq = usage_find("sysworkq");

	ARG_UNUSED(arg1);
	ARG_UNUSED(arg2);
	ARG_UNUSED(arg3);

	while (true) {
		k_thread_runtime_stats_t all;

		k_sleep(USAGE_PERIOD);
		(void)k_thread_runtime_stats_all_get(&all);
		emacz_perf.ru_all_cycles = (uint32_t)all.execution_cycles;
		emacz_perf.ru_idle_cycles = (uint32_t)all.idle_cycles;
		emacz_perf.ru_rx_cycles = usage_cycles(rx);
		emacz_perf.ru_sink_cycles = usage_cycles(sink);
		emacz_perf.ru_control_cycles = usage_cycles(control);
		emacz_perf.ru_main_cycles = usage_cycles(main_tid);
		emacz_perf.ru_workq_cycles = usage_cycles(workq);
		emacz_perf.ru_usage_cycles = usage_cycles(k_current_get());
		emacz_perf.ru_samples++;
		update_perf_stats();
	}
}

static void start_usage(void)
{
	k_thread_create(&usage_thread, usage_thread_stack,
			K_THREAD_STACK_SIZEOF(usage_thread_stack), usage_thread_fn, NULL, NULL,
			NULL, USAGE_THREAD_PRIORITY, 0, K_NO_WAIT);
	k_thread_name_set(&usage_thread, "emacz_usage");
}
#endif

int main(void)
{
	struct net_if *iface;
	uint32_t count = 0;
	uint32_t start_cycle;
	uint32_t last_cycle;
	int64_t last_uptime;

	/* bard0 vex bring-up: writable boot progress marker in .bss (read via
	 * JTAG-AXI at the emacz_boot_marker symbol address).
	 */
	emacz_boot_marker = 0xB0071111u;

	init_perf_stats();
	emacz_boot_marker = 0xB0072222u;
	start_cycle = k_cycle_get_32();
	emacz_boot_marker = 0xB0073333u;
	last_cycle = start_cycle;
	last_uptime = k_uptime_get();
	emacz_boot_marker = 0xB0074444u;
	emacz_scratch_heartbeat[0] = SCRATCH_MAGIC;
	raw_uart_puts("Zephyr emacZero main on " CONFIG_BOARD "\r\n");

	raw_uart_reg("EMZ VER", EMZ_REG_VERSION);
	raw_uart_reg("EMZ CTRL", EMZ_REG_CTRL);
	raw_uart_reg("EMZ STAT", EMZ_REG_STATUS);
	raw_uart_reg("EMZ MACLO", EMZ_REG_MAC_LO);
	raw_uart_reg("EMZ MACHI", EMZ_REG_MAC_HI);

	iface = net_if_get_default();
	if (iface == NULL) {
		raw_uart_puts("MBV no default iface\r\n");
	} else {
		int ret;

		raw_uart_puts("MBV default iface ok\r\n");
		ret = emacz_provision_start(iface);
		raw_uart_puts("MBV provision start ret=0x");
		raw_uart_hex32((uint32_t)ret);
		raw_uart_puts("\r\n");
		raw_uart_puts("MBV iface up=0x");
		raw_uart_hex32(net_if_is_up(iface) ? 1u : 0u);
		raw_uart_puts(" admin=0x");
		raw_uart_hex32(net_if_is_admin_up(iface) ? 1u : 0u);
		raw_uart_puts(" carrier=0x");
		raw_uart_hex32(net_if_is_carrier_ok(iface) ? 1u : 0u);
		raw_uart_puts("\r\n");
#if defined(CONFIG_NET_ZPERF)
		start_zperf_server();
#else
		start_udp_sink();
#endif
		start_control();
#if defined(CONFIG_EMACZ_APP_THREAD_USAGE)
		start_usage();
#endif
	}

	while (true) {
		uint32_t now_cycle;
		int64_t now_uptime;

		emacz_scratch_heartbeat[1] = count++;
		k_sleep(K_SECONDS(1));
		now_cycle = k_cycle_get_32();
		now_uptime = k_uptime_get();
		emacz_perf.uptime_ms = (uint32_t)now_uptime;
		/* with thread usage on, its thread refreshes them every 50 ms */
		if (!IS_ENABLED(CONFIG_EMACZ_APP_THREAD_USAGE)) {
			update_perf_stats();
		}
		if ((now_uptime - last_uptime) >= 1000) {
			emacz_perf.cycle_delta_1s = now_cycle - last_cycle;
			last_cycle = now_cycle;
			last_uptime = now_uptime;
		}
		if (now_uptime >= 30000) {
			emacz_perf.cycle_delta_30s = now_cycle - start_cycle;
		}
	}
}
```

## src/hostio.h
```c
/*
 * SPDX-License-Identifier: Apache-2.0
 * Copyright (c) 2026 Leonardo Capossio - bard0 design
 */

#ifndef EMACZ_HOSTIO_H_
#define EMACZ_HOSTIO_H_

#include <zephyr/devicetree.h>
#include <zephyr/toolchain.h>

/*
 * Host-visible page at the top of the uncached DMA window, reserved by the
 * board overlay's emz_hostio node. The host tools reach it over JTAG-AXI at
 * fixed addresses, so the layout is:
 *   +0x0000 (0x9FFFE000): struct emacz_jtag_mailbox (provision.h)
 *   +0x1000 (0x9FFFF000): struct emacz_perf_stats (perf_stats.h)
 * Being uncached, plain volatile accesses see host writes and vice versa.
 */
#define EMACZ_HOSTIO_NODE DT_NODELABEL(emz_hostio)
#define EMACZ_JTAG_MAILBOX_ADDR DT_REG_ADDR(EMACZ_HOSTIO_NODE)
#define EMACZ_PERF_STATS_ADDR (DT_REG_ADDR(EMACZ_HOSTIO_NODE) + 0x1000u)
#define EMACZ_HOSTIO_SLOT_SIZE 0x1000u

BUILD_ASSERT(DT_REG_SIZE(EMACZ_HOSTIO_NODE) >= 2u * EMACZ_HOSTIO_SLOT_SIZE,
	     "emz_hostio must hold the JTAG mailbox and the perf-stats block");

#endif /* EMACZ_HOSTIO_H_ */
```

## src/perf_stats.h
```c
/*
 * SPDX-License-Identifier: Apache-2.0
 * Copyright (c) 2026 Leonardo Capossio - bard0 design
 */

#ifndef EMACZ_PERF_STATS_H_
#define EMACZ_PERF_STATS_H_

#include <stdint.h>

#include <zephyr/toolchain.h>

#include "hostio.h"

#define EMACZ_PERF_STATS_MAGIC 0x45505a53u
/* scripts/read_perf_stats.py mirrors this layout; bump both together. */
#define EMACZ_PERF_STATS_VERSION 22u

/*
 * Counters the app can see from outside the driver: the MAC's own registers,
 * the network stack's statistics and the UDP sink. Written by the app only.
 */
struct emacz_perf_stats {
	uint32_t magic;
	uint32_t version;
	uint32_t cycles_per_sec;
	uint32_t rx_buffer_count;
	uint32_t uptime_ms;
	uint32_t cycle_delta_1s;
	uint32_t cycle_delta_30s;
	uint32_t mac_rx_frames;
	uint32_t mac_rx_bytes;
	uint32_t mac_rx_err;
	uint32_t mac_rx_err_align;
	uint32_t mac_rx_err_overflow;
	uint32_t mac_rx_err_oversize;
	/* frames the MAC dropped whole: no RX FIFO room at their start */
	uint32_t mac_rx_drop;
	uint32_t mac_rx_bcast;
	uint32_t mac_rx_mcast;
	uint32_t mac_rx_size_1024_1518;
	uint32_t mac_tx_frames;
	uint32_t mac_tx_bytes;
	uint32_t gate_magic;
	uint32_t gate_good_frames;
	uint32_t gate_dropped_bad_frames;
	uint32_t gate_dropped_overflow_frames;
	uint32_t gate_drain_samples;
	uint32_t gate_drain_cycles_total;
	uint32_t gate_drain_cycles_max;
	uint32_t gate_drain_lt_50us;
	uint32_t gate_drain_50_100us;
	uint32_t gate_drain_100_200us;
	uint32_t gate_drain_200_500us;
	uint32_t gate_drain_ge_500us;
	uint32_t gate_drain_tready_low_cycles;
	uint32_t gate_drain_tready_low_cycles_max;
	uint32_t gate_drain_tready_low_samples;
	/*
	 * Ethernet errors.rx: frames the MAC rejected or dropped whole (RX_DROP)
	 * plus frames the driver dropped
	 */
	uint32_t eth_rx_errors;
	/* AXI DMA errors that halted S2MM / MM2S; each one starts a recovery */
	uint32_t eth_rx_dma_failed;
	uint32_t eth_tx_dma_failed;
	uint32_t net_ipv4_recv;
	uint32_t net_ipv4_drop;
	uint32_t net_udp_recv;
	uint32_t net_udp_drop;
	uint32_t net_udp_chkerr;
	uint32_t net_processing_error;
	uint32_t net_ip_vhlerr;
	uint32_t net_ip_hblenerr;
	uint32_t net_ip_lblenerr;
	uint32_t net_ip_fragerr;
	uint32_t net_ip_chkerr;
	uint32_t net_ip_protoerr;
	uint32_t net_icmp_recv;
	uint32_t net_icmp_sent;
	uint32_t net_icmp_drop;
	uint32_t net_icmp_typeerr;
	/*
	 * Seqlock over the sink_* block below: odd while the sink thread is
	 * mid-update. Readers that see it odd, or changed across their read,
	 * retry. 64-bit counters are two stores on RV32, so a read without it
	 * can be torn.
	 */
	uint32_t sink_seq;
	uint64_t sink_packets;
	uint64_t sink_bytes;
	uint64_t sink_recv_errors;
	uint64_t sink_eagain;
	uint64_t sink_recvfrom_calls;
	uint64_t sink_recvfrom_cycles_total;
	uint32_t sink_recvfrom_cycles_max;
	uint32_t sink_last_errno;
	uint32_t sink_first_cycle;
	uint32_t sink_last_cycle;
	uint32_t sink_last_len;
	/*
	 * CONFIG_EMACZ_APP_THREAD_USAGE, else 0: low 32 bits of the cycles each
	 * thread has run, refreshed every 50 ms, so deltas wrap after 2^32
	 * cycles (43 s at 100 MHz). ISR time counts to the interrupted thread.
	 */
	uint32_t ru_samples;
	/* every thread, idle included: elapsed cycles */
	uint32_t ru_all_cycles;
	uint32_t ru_idle_cycles;
	/* the driver RX thread, which runs the stack's RX path inline */
	uint32_t ru_rx_cycles;
	uint32_t ru_sink_cycles;
	uint32_t ru_control_cycles;
	uint32_t ru_main_cycles;
	uint32_t ru_workq_cycles;
	/* the thread that writes this block */
	uint32_t ru_usage_cycles;
};

BUILD_ASSERT(sizeof(struct emacz_perf_stats) <= EMACZ_HOSTIO_SLOT_SIZE,
	     "perf stats must fit their slot of emz_hostio");

/* The live block; the name differs from the struct tag so both stay usable */
#define emacz_perf (*(volatile struct emacz_perf_stats *)EMACZ_PERF_STATS_ADDR)

#endif /* EMACZ_PERF_STATS_H_ */
```

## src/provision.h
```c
/*
 * SPDX-License-Identifier: Apache-2.0
 * Copyright (c) 2026 Leonardo Capossio - bard0 design
 */
#ifndef EMACZ_PROVISION_H_
#define EMACZ_PROVISION_H_

#include <stdbool.h>
#include <zephyr/net/net_if.h>
#include <zephyr/net/net_ip.h>

#define EMACZ_PROVISION_PORT 5004u

/* Host->board JTAG-AXI mailbox at EMACZ_JTAG_MAILBOX_ADDR (0x9FFFE000, hostio.h).
 * The board polls it from the provisioning thread; the host pokes it via
 * fcapz when the network path is not yet reachable (typical bring-up).
 *
 * Wire format (little-endian, 32-byte header, matches host script):
 *   +0x00  u32 magic        = 0x50525856 ("PRVX", host writes)
 *   +0x04  u32 epoch        (host bumps each new request)
 *   +0x08  u32 ip           (network-byte-order IPv4 address)
 *   +0x0C  u32 gateway      (network-byte-order, 0 = none)
 *   +0x10  u32 prefix       (CIDR bits, 1..30)
 *   +0x14  u32 reserved     (must be 0)
 *   +0x18  u32 ack_epoch    (board mirrors epoch on success)
 *   +0x1C  i32 status       (board writes: 0 = ok, negative errno on failure)
 *
 * `magic` doubles as a sentinel: on cold boot the block is zero (or garbage
 * from a prior run), so the board only reacts when both `magic == 0x50525856`
 * AND `epoch != last_applied_epoch`. The host writes the whole header, then
 * bumps epoch last, then polls ack_epoch to observe completion.
 */
#define EMACZ_JTAG_MAILBOX_MAGIC 0x50525856u /* 'PRVX' */

struct emacz_jtag_mailbox {
	uint32_t magic;
	uint32_t epoch;
	uint32_t ip;
	uint32_t gateway;
	uint32_t prefix;
	uint32_t reserved;
	uint32_t ack_epoch;
	int32_t status;
};

int emacz_provision_start(struct net_if *iface);

#endif /* EMACZ_PROVISION_H_ */
```
